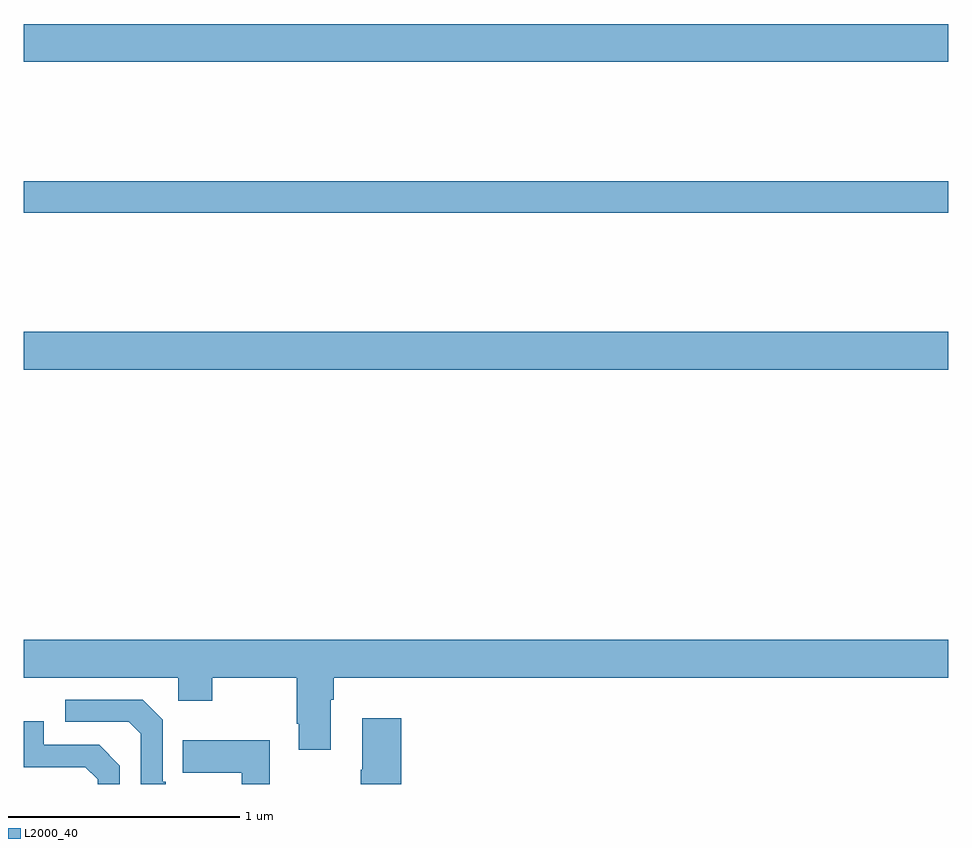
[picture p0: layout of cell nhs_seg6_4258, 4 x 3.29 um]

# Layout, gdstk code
import gdstk
lib = gdstk.Library(unit=1e-6, precision=1e-09)
def R(c, l, rs):  # rectangles x0, y0, x1, y1
    for r in rs: c.add(gdstk.rectangle(r[:2], r[2:], *l))
def P(c, l, *ps):  # polygons
    for p in ps: c.add(gdstk.Polygon(p, *l))
L2000_40 = (2000, 40)

nhs_seg6_4258 = lib.new_cell('nhs_seg6_4258')
R(nhs_seg6_4258, L2000_40, [(361,991.292,365,991.456), (361,991.972,365,992.108), (361,992.624,365,992.788)])
P(nhs_seg6_4258, L2000_40, [(361,989.96),(361.668,989.96),(361.668,989.861),(361.815,989.861),(361.815,989.96),(362.182,989.96),(362.182,989.761),(362.189,989.761),(362.189,989.649),(362.329,989.649),(362.329,989.864),(362.342,989.864),(362.342,989.96),(365,989.96),(365,990.124),(361,990.124)],
  [(361.615,989.509),(361.602,989.509),(361.602,989.778),(361.515,989.865),(361.179,989.865),(361.179,989.769),(361.455,989.769),(361.506,989.718),(361.506,989.5),(361.615,989.5)],
  [(362.633,989.785),(362.465,989.785),(362.465,989.561),(362.458,989.561),(362.458,989.5),(362.633,989.5)],
  [(361.416,989.58),(361.326,989.67),(361.086,989.67),(361.086,989.772),(361,989.772),(361,989.573),(361.267,989.573),(361.32,989.52),(361.32,989.5),(361.416,989.5)],
  [(362.065,989.689),(361.687,989.689),(361.687,989.549),(361.944,989.549),(361.944,989.5),(362.065,989.5)])

lib.write_gds('nhs_seg6_4258.gds')
